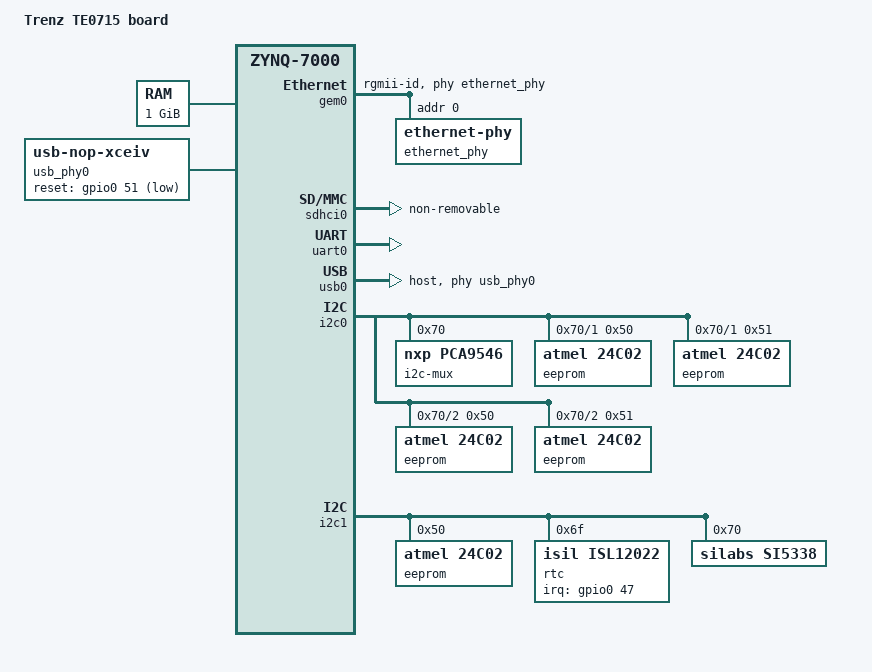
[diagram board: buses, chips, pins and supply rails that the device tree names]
// SPDX-License-Identifier: GPL-2.0
/*
 *  Copyright (C) 2011 - 2014 Xilinx
 *  Copyright (C) 2012 National Instruments Corp.
 */
/dts-v1/;
#include "zynq-7000.dtsi"
#include "zynq-fpga.dtsi"

/ {
	model = "Trenz TE0715 board";
	compatible = "digilent,zynq-te0715", "xlnx,zynq-7000";

	aliases {
		ethernet0 = &gem0;
		serial0 = &uart0;
		mmc0 = &sdhci0;
	};

	memory@0 {
		device_type = "memory";
		reg = <0x0 0x40000000>;
	};

	chosen {
		bootargs = "root=/dev/ram0";
		stdout-path = "serial0:115200n8";
	};

	usb_phy0: phy0 {
		#phy-cells = <0>;
		compatible = "usb-nop-xceiv";
		reset-gpios = <&gpio0 51 1>;
	};
};

&clkc {
	ps-clk-frequency = <33333333>;
};

&gem0 {
	status = "okay";
	phy-mode = "rgmii-id";
	phy-handle = <&ethernet_phy>;

	ethernet_phy: ethernet-phy@0 {
		reg = <0>;
		device_type = "ethernet-phy";
		// Marvell 88E1510
		// The LEDs don't work because of a hardware error
		// on the TE0715 module (level translator three-stated
		// permanently)
		// Don't bother to load the driver - it doesn't seem
		// to work reliably (interrupt?)
	//		compatible  = "ethernet-phy-id0141.0dd0";
	//	marvell,reg-init = <3 16 0xfff0 8>, <3 17 0xfffc 1>;
	//	interrupt-parent = <&gpio0>;
	//	interrupts       = <46 8>; // 8: active-low, level
	};
};

&sdhci0 {
	status        = "okay";
	/* broken-cd     = "true"; poll for CD at 1Hz */
	non-removable = "true"; /* no CD              */
	wp-inverted   = "true";
};

&gpio0 {
	pinctrl-names = "default";
	pinctrl-0 = <&pinctrl_gpio0_default>;
};


&uart0 {
	status = "okay";
};

&usb0 {
	status = "okay";
	dr_mode = "host";
	usb-phy = <&usb_phy0>;
};

&i2c0 {
	status = "okay";

    i2c-mux@70 {
		compatible     = "nxp,pca9546";
		#address-cells = <1>;
		#size-cells    = <0>;
		reg            = <0x70>;

/*
		i2c@0 {
			#address-cells = <1>;
			#size-cells    = <0>;
			reg            = <0>;
			si5344@38 {
				reg        = <0x68>;
			};
		};
*/
		/* SFP-2 (1/2 switched for routing reasons) */
		i2c@1 {
			#address-cells = <1>;
			#size-cells    = <0>;
			reg            = <1>;
			
			eeprom@50 {
        		compatible = "atmel,24c02";
				reg        = <0x50>;
                read-only  = "true";
			};
			eeprom@51 {
        		compatible = "atmel,24c02";
				reg        = <0x51>;
                read-only  = "true";
			};
		};
		/* SFP-1 (1/2 switched for routing reasons) */
		i2c@2 {
			#address-cells = <1>;
			#size-cells    = <0>;
			reg            = <2>;

			eeprom@50 {
        		compatible = "atmel,24c02";
				reg        = <0x50>;
                read-only  = "true";
			};
			eeprom@51 {
        		compatible = "atmel,24c02";
				reg        = <0x51>;
                read-only  = "true";
			};
		};
	};

};

&i2c1 {
	status = "okay";

    eeprom@50 {
		/* write-protect for now - MAC address is in there */
        compatible = "atmel,24c02";
        reg        = <0x50>;
        read-only  = "true";
    };

    rtc@6f {
		compatible = "isil,isl12022";
        reg        = <0x6f>;
		interrupt-parent = <&gpio0>;
		interrupts       = <47   8>; // active-low, open drain!
	};

/*
    nvram@57 {
		reg        = <0x57>;
	};
*/

    si5338@70 {
		compatible = "silabs,si5338";
		reg        = <0x70>;
        si5338,in_frequency3  = <25000000>;
	};
};

&pinctrl0 {

	pinctrl_gpio0_default: gpio0-default {
		mux {
			function = "gpio0";
			groups   = "gpio0_7_grp";
		};

		conf {
			groups = "gpio0_7_grp";
			slew-rate   = <0>;
			io-standard = <3>; // 3.3V MIO bank 500
		};

		// User LED (for illustration)
		conf-pull-none {
			pins = "MIO7";
			bias-disable;
		};
	};

	sdhci0_pins: sdhci0_pinctl {
/*
		mux-cd {
			groups = "gpio0_9_grp";
			function = "sdio1_cd";
		};

		conf-cd {
			groups = "gpio0_9_grp";
			bias-high-impedance;
			bias-pull-up;
			slew-rate = <0>;
			io-standard = <3>;
		};
*/

		mux-wp {
			groups = "gpio0_0_grp";
			function = "sdio0_wp";
		};

		conf-wp {
			groups = "gpio0_0_grp";
			bias-high-impedance;
			bias-pull-up;
			slew-rate = <0>;
			io-standard = <3>;
		};

		mux-gpio-irq-46 {
			groups = "gpio0_46_grp";
			function = "gpio0";
		};

		conf-gpio-irq-46 {
			groups = "gpio0_46_grp";
			io-standard = <1>;
		};

		mux-gpio-irq-47 {
			groups = "gpio0_47_grp";
			function = "gpio0";
		};

		conf-gpio-irq-47 {
			groups = "gpio0_47_grp";
			io-standard = <1>;
			bias-pull-up;
		};
	};
};
